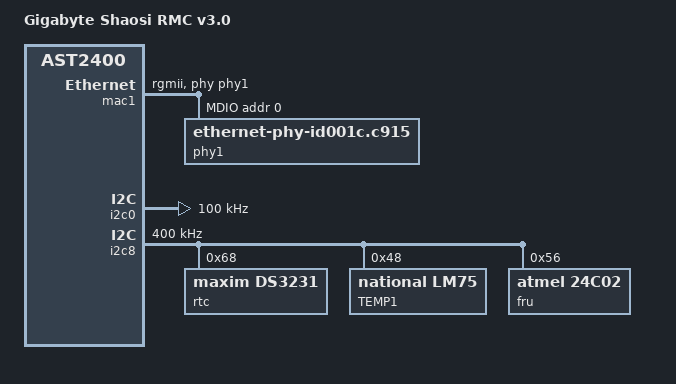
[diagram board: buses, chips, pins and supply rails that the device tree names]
/dts-v1/;
/plugin/;

#include <dt-bindings/gpio/gpio.h>
#include <dt-bindings/gpio/aspeed-gpio.h>

/ {
	compatible = "aspeed,ast2400";

	fragment@0 {
		target-path = "/";
		__overlay__ {
			model = "Gigabyte Shaosi RMC v3.0";
		};
	};

	fragment@1 {
		target = <&mac1>;
		__overlay__ {
			status = "okay";

	no-hw-checksum;

	phy-handle = <&phy1>;
	phy-mode = "rgmii";

	pinctrl-names = "default";
	pinctrl-0 = <&pinctrl_rgmii2_default &pinctrl_mdio2_default>;

	mdio {
		phy1: phy@0 {
			compatible = "ethernet-phy-id001c.c915";
			reg = <0>;
		};
			};
		};
	};

	fragment@2 {
		target = <&i2c0>;
		__overlay__ {
			status = "okay";
			clock-frequency = <100000>;
		};
	};

	fragment@3 {
		target = <&i2c8>;
		__overlay__ {
			status = "okay";
			clock-frequency = <400000>;
			rtc@68 {
				compatible = "maxim,ds3231";
				reg = <0x68>;
				// interrupts = <GPIOF0>
			};

			tmp {
				label = "TEMP1";
				compatible = "national,lm75";
				reg = <0x48>;
			};
			fru {
				compatible = "atmel,24c02";
				reg = <0x56>;
				// pagesize = <32>;
			};
		};
	};
};
